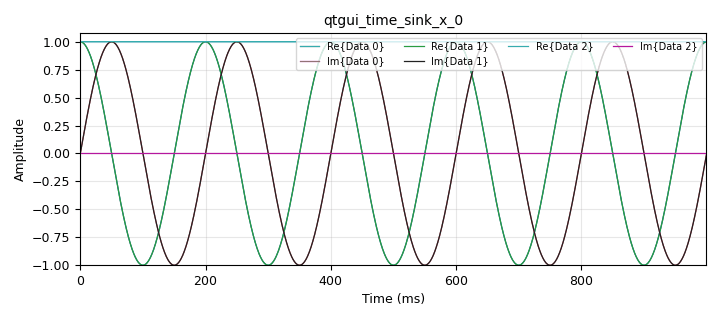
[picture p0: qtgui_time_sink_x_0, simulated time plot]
<?xml version='1.0' encoding='utf-8'?>
<?grc format='1' created='3.7.10'?>
<flow_graph>
<block>
<key>options</key>
<param><key>id</key><value>top_block</value></param>
<param><key>generate_options</key><value>qt_gui</value></param>
</block>
<block>
<key>variable</key>
<param><key>id</key><value>samp_rate</value></param>
<param><key>value</key><value>4000</value></param>
</block>
<block>
<key>analog_sig_source_x</key>
<param><key>id</key><value>analog_sig_source_x_0</value></param>
<param><key>amp</key><value>1</value></param>
<param><key>freq</key><value>5</value></param>
<param><key>offset</key><value>0</value></param>
<param><key>type</key><value>complex</value></param>
<param><key>samp_rate</key><value>samp_rate</value></param>
<param><key>waveform</key><value>analog.GR_COS_WAVE</value></param>
</block>
<block>
<key>analog_sig_source_x</key>
<param><key>id</key><value>analog_sig_source_x_1</value></param>
<param><key>amp</key><value>1</value></param>
<param><key>freq</key><value>0</value></param>
<param><key>offset</key><value>0</value></param>
<param><key>type</key><value>complex</value></param>
<param><key>samp_rate</key><value>samp_rate</value></param>
<param><key>waveform</key><value>analog.GR_COS_WAVE</value></param>
</block>
<block>
<key>blocks_multiply_xx</key>
<param><key>id</key><value>blocks_multiply_xx_0</value></param>
<param><key>type</key><value>complex</value></param>
</block>
<block>
<key>blocks_throttle</key>
<param><key>id</key><value>blocks_throttle_0</value></param>
<param><key>samples_per_second</key><value>samp_rate</value></param>
<param><key>type</key><value>complex</value></param>
</block>
<block>
<key>qtgui_time_sink_x</key>
<param><key>id</key><value>qtgui_time_sink_x_0</value></param>
<param><key>color1</key><value>"blue"</value></param>
<param><key>label1</key><value></value></param>
<param><key>color2</key><value>"red"</value></param>
<param><key>label2</key><value></value></param>
<param><key>color3</key><value>"green"</value></param>
<param><key>label3</key><value></value></param>
<param><key>color4</key><value>"black"</value></param>
<param><key>label4</key><value></value></param>
<param><key>color5</key><value>"cyan"</value></param>
<param><key>label5</key><value></value></param>
<param><key>color6</key><value>"magenta"</value></param>
<param><key>label6</key><value></value></param>
<param><key>nconnections</key><value>3</value></param>
<param><key>size</key><value>samp_rate</value></param>
<param><key>srate</key><value>samp_rate</value></param>
<param><key>type</key><value>complex</value></param>
</block>
<connection><source_block_id>analog_sig_source_x_0</source_block_id><sink_block_id>blocks_throttle_0</sink_block_id><source_key>0</source_key><sink_key>0</sink_key></connection>
<connection><source_block_id>analog_sig_source_x_1</source_block_id><sink_block_id>blocks_multiply_xx_0</sink_block_id><source_key>0</source_key><sink_key>1</sink_key></connection>
<connection><source_block_id>analog_sig_source_x_1</source_block_id><sink_block_id>qtgui_time_sink_x_0</sink_block_id><source_key>0</source_key><sink_key>2</sink_key></connection>
<connection><source_block_id>blocks_multiply_xx_0</source_block_id><sink_block_id>qtgui_time_sink_x_0</sink_block_id><source_key>0</source_key><sink_key>1</sink_key></connection>
<connection><source_block_id>blocks_throttle_0</source_block_id><sink_block_id>blocks_multiply_xx_0</sink_block_id><source_key>0</source_key><sink_key>0</sink_key></connection>
<connection><source_block_id>blocks_throttle_0</source_block_id><sink_block_id>qtgui_time_sink_x_0</sink_block_id><source_key>0</source_key><sink_key>0</sink_key></connection>
</flow_graph>
